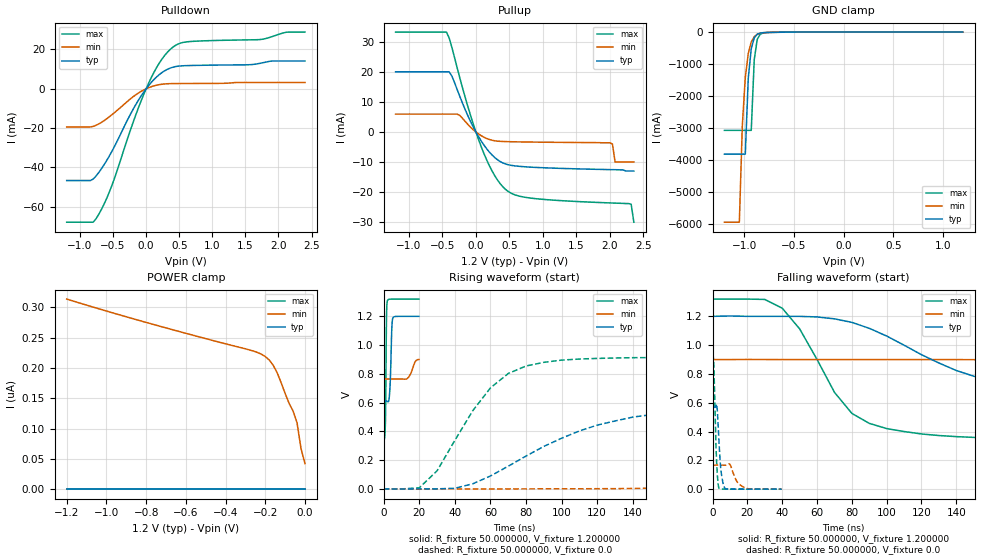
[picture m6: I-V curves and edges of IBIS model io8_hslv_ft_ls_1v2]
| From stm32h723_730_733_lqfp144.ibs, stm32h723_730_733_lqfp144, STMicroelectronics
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|   Model io8_hslv_ft_ls_1v2
[Model]  io8_hslv_ft_ls_1v2
Model_type I/O
Polarity   Non-Inverting
Enable   Active-Low
Vinl =   0.360000V
Vinh =   0.840000V
Vmeas =  0.600000V
Cref =   30.000000pF
Rref =   100.000000M
Vref =   0.0V
C_comp   2.994400pF   2.970600pF   3.011800pF
[Temperature Range]   25.000000   0.140000k   -40.000000
[Pullup Reference]   1.200000V   0.900000V   1.320000V
[Pulldown Reference]   0.0V   0.0V   0.0V
[POWER Clamp Reference]   1.200000V   0.900000V   1.320000V
[GND Clamp Reference]   0.0V   0.0V   0.0V
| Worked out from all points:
|   slope of the pulldown table from 0 to 0.18 V, typ, clamps not added: 27 ohm
|   slope of the pullup table from 0 to 0.18 V, typ, clamps not added: 29.5 ohm
|   GND clamp passes 1 mA (typ) near -0.49 V on its own axis
|   rising waveform, R_fixture 50.000000, V_fixture 1.200000: 20-80 % time 856ps typ, 2.53ns min, 446ps max; typ from 0.611 V to 1.2 V
|   rising waveform, R_fixture 50.000000, V_fixture 0.0: 20-80 % time 60.8ns typ, 177ns min, 30.2ns max; typ from 0 V to 0.57 V
|   falling waveform, R_fixture 50.000000, V_fixture 1.200000: 20-80 % time 74.1ns typ, 209ns min, 29.9ns max; typ from 1.2 V to 0.611 V
|   falling waveform, R_fixture 50.000000, V_fixture 0.0: 20-80 % time 1.84ns typ, 4.21ns min, 1.33ns max; typ from 0.57 V to 0 V
[Pulldown]
|Voltage   I(typ)   I(min)   I(max)
-1.2V     -46.68mA   -19.4mA    -67.88mA
-800mV    -45.91mA   -19.15mA   -67.88mA
-720mV    -42.8mA    -17.97mA   -64.13mA
-520mV    -32.02mA   -13.28mA   -49.45mA
-200mV    -10.65mA   -4.148mA   -17.41mA
0V        0A         -3pA       0A
200mV     7.248mA    2.117mA    13.13mA
400mV     10.95mA    2.644mA    21.07mA
600mV     11.77mA    2.693mA    23.82mA
1.72V     12.96mA    3.217mA    25.06mA
2.12V     14.16mA    3.217mA    28.79mA
2.4V      14.16mA    3.217mA    28.86mA
[Pullup]
|Voltage   I(typ)   I(min)   I(max)
-1.2V     20mA       5.926mA    33.19mA
-440mV    20mA       5.926mA    33.19mA
-360mV    18.62mA    5.926mA    28.23mA
-240mV    11.79mA    5.48mA     17.97mA
80mV      -3.02mA    -1.248mA   -4.933mA
440mV     -10.63mA   -3.204mA   -19.03mA
800mV     -11.68mA   -3.356mA   -21.93mA
2V        -12.52mA   -3.6mA     -23.59mA
2.04V     -12.54mA   -4mA       -23.62mA
2.08V     -12.55mA   -10mA      -23.66mA
2.32V     -13mA      -10mA      -24mA
2.36V     -13mA      -10mA      -30mA
[GND_clamp]
|Voltage   I(typ)   I(min)   I(max)
-1.2V     -3.825A    -5.957A    -3.08A
-1.05V    -3.825A    -5.957A    -3.08A
-1.02V    -3.825A    -2.931A    -3.08A
-990mV    -3.825A    -1.42A     -3.08A
-960mV    -1.441A    -668.9mA   -3.08A
-930mV    -519mA     -309.3mA   -3.08A
-900mV    -183.4mA   -143.6mA   -867.5mA
-870mV    -69.4mA    -69.06mA   -230.1mA
-840mV    -31.29mA   -35.69mA   -66.87mA
-810mV    -17.92mA   -20.54mA   -26.67mA
-750mV    -9.804mA   -9.737mA   -11.79mA
1.2V      0A         -18.82nA   0A
[POWER_clamp]
|Voltage   I(typ)   I(min)   I(max)
-1.2V     0A         313.4nA    0A
-780mV    0A         273.1nA    0A
-280mV    0A         229.6nA    0A
-200mV    0A         218.7nA    0A
-180mV    0A         212.9nA    0A
-160mV    0A         204.3nA    0A
-140mV    0A         191.8nA    0A
-80mV     0A         141.5nA    0A
-60mV     0A         128.9nA    0A
-40mV     0A         109.6nA    0A
-20mV     0A         67.07nA    0A
0V        0A         42.01nA    0A
[Ramp]
| variable   typ   min   max
dV/dt_r  0.34179/60.22183n   0.10001/0.17664u   0.54871/29.48683n
dV/dt_f  0.35359/73.84433n   80.98800m/0.21003u  0.58421/29.13994n
R_load = 50.000000
[Rising Waveform]
R_fixture= 50.000000
V_fixture= 1.200000
V_fixture_min= 0.900000
V_fixture_max= 1.320000
|time   V(typ)   V(min)   V(max)
0s        610.7mV    764.3mV    344.8mV
1.001ns   610.8mV    764.3mV    461.9mV
1.201ns   610.8mV    764.3mV    642.8mV
1.602ns   610.5mV    764.3mV    1.202V
2.002ns   608.7mV    764.3mV    1.304V
3.403ns   675.9mV    764.3mV    1.319V
4.605ns   1.12V      764.3mV    1.32V
5.205ns   1.189V     764.3mV    1.32V
13.41ns   1.2V       768.7mV    1.32V
19.82ns   1.2V       900mV      1.32V
[Rising Waveform]
R_fixture= 50.000000
V_fixture= 0.0
V_fixture_min= 0.0
V_fixture_max= 0.0
|time   V(typ)   V(min)   V(max)
0s        3.631nV    1.112uV    953.6pV
20.02ns   -79.02uV   -1.99mV    7.312mV
30.03ns   104.9uV    -9.658uV   125.7mV
50.05ns   35.07mV    -7.432uV   542.9mV
70.07ns   157.9mV    68.35uV    802.6mV
100.1ns   352.6mV    385.8uV    895.6mV
140.1ns   499.3mV    3.022mV    912.4mV
210.2ns   560.9mV    32.97mV    914.4mV
430.4ns   569.7mV    147mV      914.4mV
991ns     569.8mV    166.8mV    914.4mV
[Falling Waveform]
R_fixture= 50.000000
V_fixture= 1.200000
V_fixture_min= 0.900000
V_fixture_max= 1.320000
|time   V(typ)   V(min)   V(max)
0s        1.2V       900mV      1.32V
30.03ns   1.2V       900.2mV    1.317V
40.04ns   1.2V       900mV      1.257V
80.08ns   1.158V     900mV      525.7mV
100.1ns   1.063V     900mV      420.4mV
130.1ns   875.6mV    899.9mV    372.4mV
180.2ns   709.8mV    897.8mV    351.2mV
270.3ns   631.6mV    877.1mV    345.1mV
500.5ns   611mV      789.2mV    344.8mV
991ns     610.7mV    764.3mV    344.8mV
[Falling Waveform]
R_fixture= 50.000000
V_fixture= 0.0
V_fixture_min= 0.0
V_fixture_max= 0.0
|time   V(typ)   V(min)   V(max)
0s        569.8mV    166.8mV    914.4mV
400.4ps   569.8mV    166.8mV    926.5mV
800.8ps   569.8mV    166.8mV    849.6mV
2.002ns   577mV      166.8mV    290.4mV
2.402ns   590.8mV    166.8mV    176.5mV
3.604ns   355mV      166.8mV    7.977mV
4.805ns   133.1mV    166.8mV    1.362mV
7.207ns   4.39mV     166.5mV    191.6uV
18.82ns   10.19uV    8.454mV    -33.91uV
39.64ns   3.631nV    1.112uV    953.6pV
